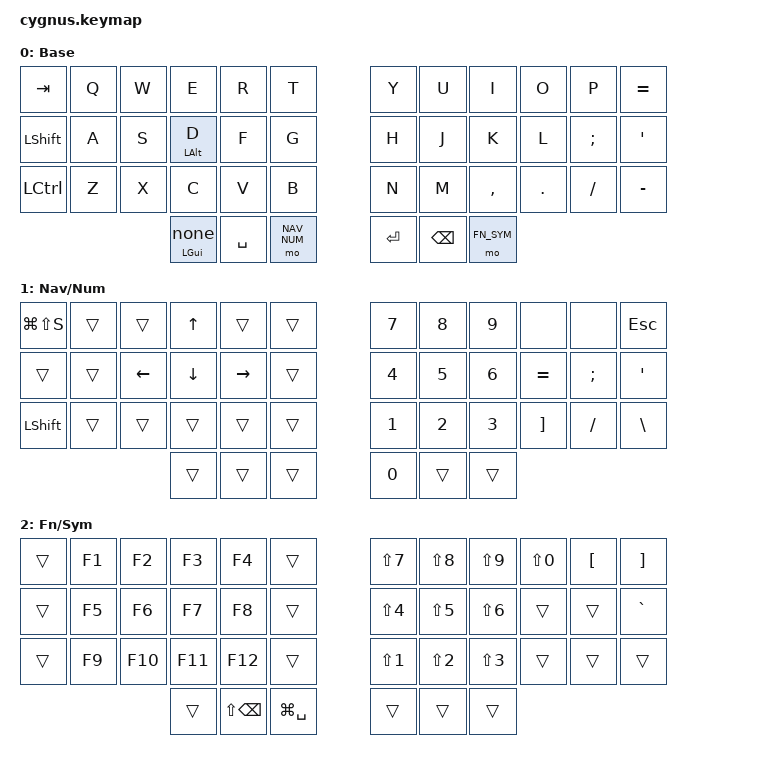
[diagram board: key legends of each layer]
#include <behaviors.dtsi>
#include <dt-bindings/zmk/keys.h>

#define NAV_NUM 1
#define FN_SYM 2
#define TAPPING_TERM_MS 200

&mt {
    flavor = "tap-preferred";
    tapping-term-ms = <TAPPING_TERM_MS>;
    quick-tap-ms = <TAPPING_TERM_MS>;
};

/ {
    behaviors {
        // LGUI_T(KC_NO) must remain silent on tap.
        gui_hold: gui_hold {
            compatible = "zmk,behavior-hold-tap";
            #binding-cells = <2>;
            flavor = "tap-preferred";
            tapping-term-ms = <TAPPING_TERM_MS>;
            quick-tap-ms = <TAPPING_TERM_MS>;
            bindings = <&kp>, <&none>;
        };
    };

    keymap {
        compatible = "zmk,keymap";

        base_layer {
            display-name = "Base";
            bindings = <
                &kp TAB   &kp Q &kp W &kp E      &kp R &kp T    &kp Y &kp U &kp I     &kp O   &kp P    &kp EQUAL
                &kp LSHFT &kp A &kp S &mt LALT D &kp F &kp G    &kp H &kp J &kp K     &kp L   &kp SEMI &kp SQT
                &kp LCTRL &kp Z &kp X &kp C      &kp V &kp B    &kp N &kp M &kp COMMA &kp DOT &kp FSLH &kp MINUS
                            &gui_hold LGUI 0 &kp SPACE &mo NAV_NUM    &kp RET &kp BSPC &mo FN_SYM
            >;
        };

        nav_num_layer {
            display-name = "Nav/Num";
            bindings = <
                &kp LG(LS(S)) &trans &trans   &kp UP   &trans    &trans    &kp N7 &kp N8 &kp N9 &none     &none    &kp ESC
                &trans       &trans &kp LEFT &kp DOWN &kp RIGHT &trans    &kp N4 &kp N5 &kp N6 &kp EQUAL &kp SEMI &kp SQT
                &kp LSHFT    &trans &trans   &trans   &trans    &trans    &kp N1 &kp N2 &kp N3 &kp RBKT  &kp FSLH &kp BSLH
                                            &trans &trans &trans    &kp N0 &trans &trans
            >;
        };

        fn_sym_layer {
            display-name = "Fn/Sym";
            bindings = <
                &trans &kp F1 &kp F2  &kp F3  &kp F4  &trans    &kp LS(N7) &kp LS(N8) &kp LS(N9) &kp LS(N0) &kp LBKT &kp RBKT
                &trans &kp F5 &kp F6  &kp F7  &kp F8  &trans    &kp LS(N4) &kp LS(N5) &kp LS(N6) &trans     &trans   &kp GRAVE
                &trans &kp F9 &kp F10 &kp F11 &kp F12 &trans    &kp LS(N1) &kp LS(N2) &kp LS(N3) &trans     &trans   &trans
                              &trans &kp LS(BSPC) &kp LG(SPACE)    &trans &trans &trans
            >;
        };
    };
};
